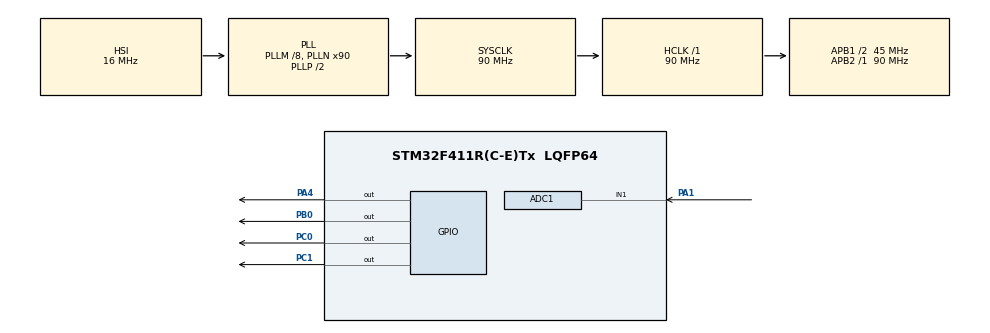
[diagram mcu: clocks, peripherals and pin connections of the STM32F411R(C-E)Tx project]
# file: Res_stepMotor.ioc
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ADC1.Channel-0\#ChannelRegularConversion=ADC_CHANNEL_1
ADC1.ContinuousConvMode=ENABLE
ADC1.DMAContinuousRequests=ENABLE
ADC1.NbrOfConversionFlag=1
ADC1.Rank-0\#ChannelRegularConversion=1
ADC1.SamplingTime-0\#ChannelRegularConversion=ADC_SAMPLETIME_3CYCLES
ADC1.master=1
Dma.ADC1.0.Direction=DMA_PERIPH_TO_MEMORY
Dma.ADC1.0.FIFOMode=DMA_FIFOMODE_DISABLE
Dma.ADC1.0.Instance=DMA2_Stream0
Dma.ADC1.0.MemDataAlignment=DMA_MDATAALIGN_HALFWORD
Dma.ADC1.0.MemInc=DMA_MINC_ENABLE
Dma.ADC1.0.Mode=DMA_CIRCULAR
Dma.ADC1.0.PeriphDataAlignment=DMA_PDATAALIGN_HALFWORD
Dma.ADC1.0.PeriphInc=DMA_PINC_DISABLE
Dma.ADC1.0.Priority=DMA_PRIORITY_LOW
Dma.Request0=ADC1
Mcu.Family=STM32F4
Mcu.Name=STM32F411R(C-E)Tx
Mcu.Package=LQFP64
NVIC.DMA2_Stream0_IRQn=true\:0\:0\:false\:false\:true\:false\:true\:true
NVIC.PriorityGroup=NVIC_PRIORITYGROUP_4
PA1.Signal=ADCx_IN1
PA4.Signal=GPIO_Output
PB0.Signal=GPIO_Output
PC0.Signal=GPIO_Output
PC1.Signal=GPIO_Output
ProjectManager.HeapSize=0x200
ProjectManager.StackSize=0x400
ProjectManager.TargetToolchain=STM32CubeIDE
RCC.48MHZClocksFreq_Value=45000000
RCC.AHBFreq_Value=90000000
RCC.APB1CLKDivider=RCC_HCLK_DIV2
RCC.APB1Freq_Value=45000000
RCC.APB1TimFreq_Value=90000000
RCC.APB2Freq_Value=90000000
RCC.APB2TimFreq_Value=90000000
RCC.CortexFreq_Value=90000000
RCC.HCLKFreq_Value=90000000
RCC.HSE_VALUE=25000000
RCC.HSI_VALUE=16000000
RCC.LSE_VALUE=32768
RCC.PLLM=8
RCC.PLLN=90
RCC.SYSCLKFreq_VALUE=90000000
RCC.SYSCLKSource=RCC_SYSCLKSOURCE_PLLCLK
RCC.VCOOutputFreq_Value=180000000
SH.ADCx_IN1.0=ADC1_IN1,IN1
TIM10.Prescaler=89
VP_TIM10_VS_ClockSourceINT.Mode=Enable_Timer
board=custom

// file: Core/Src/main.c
/* USER CODE BEGIN Header */
/**
  ******************************************************************************
  * @file           : main.c
  * @brief          : Main program body
  ******************************************************************************
  * @attention
  *
  * Copyright (c) 2023 STMicroelectronics.
  * All rights reserved.
  *
  * This software is licensed under terms that can be found in the LICENSE file
  * in the root directory of this software component.
  * If no LICENSE file comes with this software, it is provided AS-IS.
  *
  ******************************************************************************
  */
/* USER CODE END Header */
#include "main.h"

ADC_HandleTypeDef hadc1;
DMA_HandleTypeDef hdma_adc1;

TIM_HandleTypeDef htim10;

void SystemClock_Config(void);
static void MX_GPIO_Init(void);
static void MX_DMA_Init(void);
static void MX_ADC1_Init(void);
static void MX_TIM10_Init(void);

/* USER CODE BEGIN 0 */
#define IN1Port GPIOA
#define IN1Pin GPIO_PIN_4

#define IN2Port GPIOB
#define IN2Pin GPIO_PIN_0

#define IN3Port GPIOC
#define IN3Pin GPIO_PIN_1

#define IN4Port GPIOC
#define IN4Pin GPIO_PIN_0

#define stepsperrev 2048

void delay (uint16_t us)
	{
	__HAL_TIM_SET_COUNTER(&htim10, 0);
	while (__HAL_TIM_GET_COUNTER(&htim10) < us);
	}

void SetPin (GPIO_TypeDef* GPIOx, uint16_t GPIO_Pin)
	{
	HAL_GPIO_WritePin(GPIOx, GPIO_Pin, GPIO_PIN_SET);
	}

void ResetPin (GPIO_TypeDef* GPIOx, uint16_t GPIO_Pin)
	{
	HAL_GPIO_WritePin(GPIOx, GPIO_Pin, GPIO_PIN_RESET);
	}

void stepper_wave_drive (int step)
	{
	switch (step){
		case 0:
			  SetPin(IN1Port, IN1Pin);   	// IN1 SET
			  ResetPin(IN2Port, IN2Pin);   	// IN2 RESET
			  ResetPin(IN3Port, IN3Pin);   	// IN3 RESET
			  ResetPin(IN4Port, IN4Pin);   	// IN4 RESET
			  break;

		case 1:
			  ResetPin(IN1Port, IN1Pin);   	// IN1 RESET
			  SetPin(IN2Port, IN2Pin);   	// IN2 SET
			  ResetPin(IN3Port, IN3Pin);   	// IN3 RESET
			  ResetPin(IN4Port, IN4Pin);   	// IN4 RESET
			  break;

		case 2:
			  ResetPin(IN1Port, IN1Pin);   	// IN1 RESET
			  ResetPin(IN2Port, IN2Pin);   	// IN2 RESET
			  SetPin(IN3Port, IN3Pin);   	// IN3 SET
			  ResetPin(IN4Port, IN4Pin);   	// IN4 RESET
			  break;

		case 3:
			  ResetPin(IN1Port, IN1Pin);   	// IN1 RESET
			  ResetPin(IN2Port, IN2Pin);   	// IN2 RESET
			  ResetPin(IN3Port, IN3Pin);   	// IN3 RESET
			  SetPin(IN4Port, IN4Pin);		// IN4 SET

				}
	}

void stepper_set_rpm (int rpm)  // Set rpm--> max 13, min 1,,,  went to 14 rev/min
	{
	delay(60000000/stepsperrev/rpm);
	}

void stepper_step_angle (int angle, int direction, int rpm)
	{
	float anglepersequence = 0.703125;  // 360 = 512 sequences
	int numberofsequences = (int) (angle/anglepersequence);

	for (int seq=0; seq<numberofsequences; seq++)
		{
		if (direction == 0)  // for clockwise
			{
			for (int step=3; step>=0; step--)
				{
				stepper_wave_drive(step);
				stepper_set_rpm(rpm);
				}

			}

		else if (direction == 1)  // for anti-clockwise
			{
			for (int step=0; step<4; step++)
				{
				stepper_wave_drive(step);
				stepper_set_rpm(rpm);
				}
			}
		}
	}

uint16_t ADC_VAL;
float voltage;
float angle;
float currentAngle = 0;

void Stepper_rotate (int angle, int rpm)
	{
	int changeinangle = 0;
	changeinangle = angle-currentAngle;
	if (changeinangle > 3)
		{
		stepper_step_angle (changeinangle,0,rpm);
		currentAngle = angle;
		}
	else if (changeinangle <-1)
		{
		changeinangle = -(changeinangle);
		stepper_step_angle (changeinangle,1,rpm);
		currentAngle = angle;
		}

	}

void HAL_ADC_ConvCpltCallback(ADC_HandleTypeDef* hadc)
{
	voltage = (float)(ADC_VAL*3.3)/4095;
	angle = voltage*300/3.3;
	Stepper_rotate(angle, 10);
}

/* USER CODE END 0 */

int main(void)
{

  /* MCU Configuration--------------------------------------------------------*/

  /* Reset of all peripherals, Initializes the Flash interface and the Systick. */
  HAL_Init();

  /* Configure the system clock */
  SystemClock_Config();

  /* Initialize all configured peripherals */
  MX_GPIO_Init();
  MX_DMA_Init();
  MX_ADC1_Init();
  MX_TIM10_Init();

  /* Infinite loop */
  while (1)
  {
	  HAL_GPIO_TogglePin(GPIOc, GPIO_PIN_3);
	  HAL_Delay(1000);

  }
}

void SystemClock_Config(void)
{
  RCC_OscInitTypeDef RCC_OscInitStruct = {0};
  RCC_ClkInitTypeDef RCC_ClkInitStruct = {0};

  /** Configure the main internal regulator output voltage
  */
  __HAL_RCC_PWR_CLK_ENABLE();
  __HAL_PWR_VOLTAGESCALING_CONFIG(PWR_REGULATOR_VOLTAGE_SCALE1);

  /** Initializes the RCC Oscillators according to the specified parameters
  * in the RCC_OscInitTypeDef structure.
  */
  RCC_OscInitStruct.OscillatorType = RCC_OSCILLATORTYPE_HSI;
  RCC_OscInitStruct.HSIState = RCC_HSI_ON;
  RCC_OscInitStruct.HSICalibrationValue = RCC_HSICALIBRATION_DEFAULT;
  RCC_OscInitStruct.PLL.PLLState = RCC_PLL_ON;
  RCC_OscInitStruct.PLL.PLLSource = RCC_PLLSOURCE_HSI;
  RCC_OscInitStruct.PLL.PLLM = 8;
  RCC_OscInitStruct.PLL.PLLN = 90;
  RCC_OscInitStruct.PLL.PLLP = RCC_PLLP_DIV2;
  RCC_OscInitStruct.PLL.PLLQ = 4;
  if (HAL_RCC_OscConfig(&RCC_OscInitStruct) != HAL_OK)
  {
    Error_Handler();
  }

  /** Initializes the CPU, AHB and APB buses clocks
  */
  RCC_ClkInitStruct.ClockType = RCC_CLOCKTYPE_HCLK|RCC_CLOCKTYPE_SYSCLK
                              |RCC_CLOCKTYPE_PCLK1|RCC_CLOCKTYPE_PCLK2;
  RCC_ClkInitStruct.SYSCLKSource = RCC_SYSCLKSOURCE_PLLCLK;
  RCC_ClkInitStruct.AHBCLKDivider = RCC_SYSCLK_DIV1;
  RCC_ClkInitStruct.APB1CLKDivider = RCC_HCLK_DIV2;
  RCC_ClkInitStruct.APB2CLKDivider = RCC_HCLK_DIV1;

  if (HAL_RCC_ClockConfig(&RCC_ClkInitStruct, FLASH_LATENCY_2) != HAL_OK)
  {
    Error_Handler();
  }
}

static void MX_ADC1_Init(void)
{

  ADC_ChannelConfTypeDef sConfig = {0};

  /** Configure the global features of the ADC (Clock, Resolution, Data Alignment and number of conversion)
  */
  hadc1.Instance = ADC1;
  hadc1.Init.ClockPrescaler = ADC_CLOCK_SYNC_PCLK_DIV4;
  hadc1.Init.Resolution = ADC_RESOLUTION_12B;
  hadc1.Init.ScanConvMode = DISABLE;
  hadc1.Init.ContinuousConvMode = ENABLE;
  hadc1.Init.DiscontinuousConvMode = DISABLE;
  hadc1.Init.ExternalTrigConvEdge = ADC_EXTERNALTRIGCONVEDGE_NONE;
  hadc1.Init.ExternalTrigConv = ADC_SOFTWARE_START;
  hadc1.Init.DataAlign = ADC_DATAALIGN_RIGHT;
  hadc1.Init.NbrOfConversion = 1;
  hadc1.Init.DMAContinuousRequests = ENABLE;
  hadc1.Init.EOCSelection = ADC_EOC_SINGLE_CONV;
  if (HAL_ADC_Init(&hadc1) != HAL_OK)
  {
    Error_Handler();
  }

  /** Configure for the selected ADC regular channel its corresponding rank in the sequencer and its sample time.
  */
  sConfig.Channel = ADC_CHANNEL_1;
  sConfig.Rank = 1;
  sConfig.SamplingTime = ADC_SAMPLETIME_3CYCLES;
  if (HAL_ADC_ConfigChannel(&hadc1, &sConfig) != HAL_OK)
  {
    Error_Handler();
  }

}

static void MX_TIM10_Init(void)
{

  htim10.Instance = TIM10;
  htim10.Init.Prescaler = 89;
  htim10.Init.CounterMode = TIM_COUNTERMODE_UP;
  htim10.Init.Period = 65535;
  htim10.Init.ClockDivision = TIM_CLOCKDIVISION_DIV1;
  htim10.Init.AutoReloadPreload = TIM_AUTORELOAD_PRELOAD_DISABLE;
  if (HAL_TIM_Base_Init(&htim10) != HAL_OK)
  {
    Error_Handler();
  }

}

static void MX_DMA_Init(void)
{

  /* DMA controller clock enable */
  __HAL_RCC_DMA2_CLK_ENABLE();

  /* DMA interrupt init */
  /* DMA2_Stream0_IRQn interrupt configuration */
  HAL_NVIC_SetPriority(DMA2_Stream0_IRQn, 0, 0);
  HAL_NVIC_EnableIRQ(DMA2_Stream0_IRQn);

}

static void MX_GPIO_Init(void)
{
  GPIO_InitTypeDef GPIO_InitStruct = {0};

  /* GPIO Ports Clock Enable */
  __HAL_RCC_GPIOC_CLK_ENABLE();
  __HAL_RCC_GPIOA_CLK_ENABLE();
  __HAL_RCC_GPIOB_CLK_ENABLE();

  /*Configure GPIO pin Output Level */
  HAL_GPIO_WritePin(GPIOC, GPIO_PIN_0|GPIO_PIN_1, GPIO_PIN_RESET);

  /*Configure GPIO pin Output Level */
  HAL_GPIO_WritePin(GPIOA, GPIO_PIN_4, GPIO_PIN_RESET);

  /*Configure GPIO pin Output Level */
  HAL_GPIO_WritePin(GPIOB, GPIO_PIN_0, GPIO_PIN_RESET);

  /*Configure GPIO pins : PC0 PC1 */
  GPIO_InitStruct.Pin = GPIO_PIN_0|GPIO_PIN_1;
  GPIO_InitStruct.Mode = GPIO_MODE_OUTPUT_PP;
  GPIO_InitStruct.Pull = GPIO_NOPULL;
  GPIO_InitStruct.Speed = GPIO_SPEED_FREQ_LOW;
  HAL_GPIO_Init(GPIOC, &GPIO_InitStruct);

  /*Configure GPIO pin : PA4 */
  GPIO_InitStruct.Pin = GPIO_PIN_4;
  GPIO_InitStruct.Mode = GPIO_MODE_OUTPUT_PP;
  GPIO_InitStruct.Pull = GPIO_NOPULL;
  GPIO_InitStruct.Speed = GPIO_SPEED_FREQ_LOW;
  HAL_GPIO_Init(GPIOA, &GPIO_InitStruct);

  /*Configure GPIO pin : PB0 */
  GPIO_InitStruct.Pin = GPIO_PIN_0;
  GPIO_InitStruct.Mode = GPIO_MODE_OUTPUT_PP;
  GPIO_InitStruct.Pull = GPIO_NOPULL;
  GPIO_InitStruct.Speed = GPIO_SPEED_FREQ_LOW;
  HAL_GPIO_Init(GPIOB, &GPIO_InitStruct);

}

void Error_Handler(void)
{
  __disable_irq();
  while (1)
  {
  }
}
